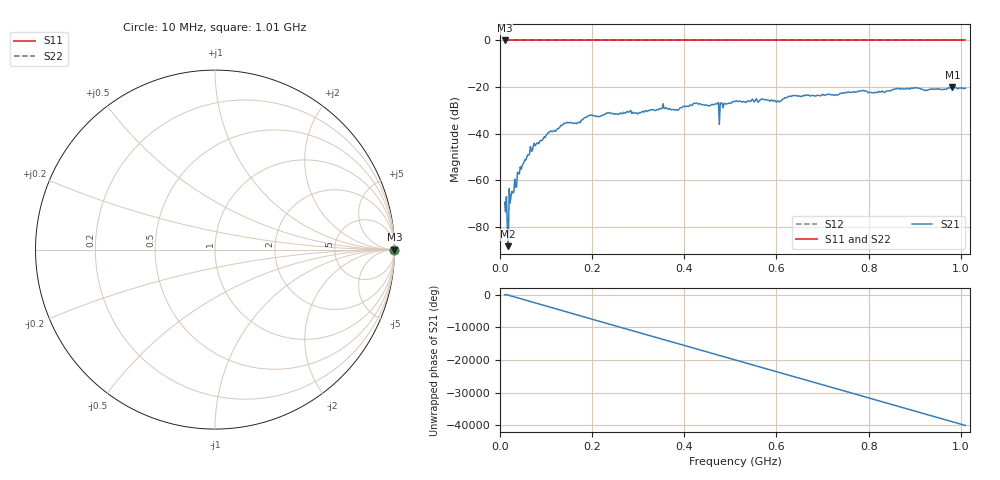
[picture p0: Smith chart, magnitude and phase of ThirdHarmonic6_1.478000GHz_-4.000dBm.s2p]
! 8/16/2025 5:15:28 PM
! C:\ANRITSUVNA\TEMP\TEMP.S2P
! CHANNEL.1
! TR.MEASUREMENT
! RAW.DATA
! RF.CORRECTION.OFF
! AVERAGING.OFF
! IF.BANDWIDTH: 5KHZ
! SWEEPTYPE:  FREQ.SWEEP(Linear)
! Reference Plane Port Info
! PORT:  PORT1  PORT2
! DISTANCE:  0  m  0  m
! TIME:  0  s  0  s
! PHASE.OFFSET:  0  deg.  0  deg.
! LOSS:  0  dB  0  dB
! REF.LOSS:  0  dB  0  dB
! REF.FREQ:  0  Hz  0  Hz
! Power Info
! POWER:  -20  dBm  -20  dBm
! EFF.POWER:  -20  dBm  -20  dBm
! SOURCE.ATTEN:  0  dB  0  dB
! TEST.ATTEN:  0  dB  0  dB
# GHZ S RI R 50.0
! FREQ.GHZ  S11RE  S11IM  S21RE  S21IM  S12RE  S12IM  S22RE  S22IM
!; PortSelection: Port_12
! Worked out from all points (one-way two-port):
!   501 points, 10 MHz to 1.01 GHz, reference 50 ohm
!   highest |S21| = -20.17 dB at 982 MHz (marker M1); lowest = -88.3 dB at 18 MHz (marker M2)
!   lowest |S11| = 0.0 dB at 10 MHz (marker M3)
!   |S11| at or under -10 dB: nowhere
!   |S22| runs from 0.0 to 0.0 dB; largest |S21 - S12| = 1.1
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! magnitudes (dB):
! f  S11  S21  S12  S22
! 10 MHz  0.0  -69.4  0.0  0.0
! 14 MHz  0.0  -67.0  0.0  0.0
! 18 MHz  0.0  -88.3  0.0  0.0
! 20 MHz  0.0  -63.6  0.0  0.0
! 24 MHz  0.0  -66.6  0.0  0.0
! 32 MHz  0.0  -59.6  0.0  0.0
! 42 MHz  0.0  -57.3  0.0  0.0
! 70 MHz  0.0  -47.5  0.0  0.0
! 136 MHz  0.0  -36.2  0.0  0.0
! 178 MHz  0.0  -34.1  0.0  0.0
! 196 MHz  0.0  -32.0  0.0  0.0
! 344 MHz  0.0  -29.7  0.0  0.0
! 384 MHz  0.0  -29.7  0.0  0.0
! 424 MHz  0.0  -27.0  0.0  0.0
! 470 MHz  0.0  -27.3  0.0  0.0
! 480 MHz  0.0  -26.8  0.0  0.0
! 482 MHz  0.0  -27.0  0.0  0.0
! 510 MHz  0.0  -26.1  0.0  0.0
! 678 MHz  0.0  -23.6  0.0  0.0
! 844 MHz  0.0  -21.6  0.0  0.0
! 982 MHz  0.0  -20.2  0.0  0.0
! 1.01 GHz  0.0  -20.5  0.0  0.0
